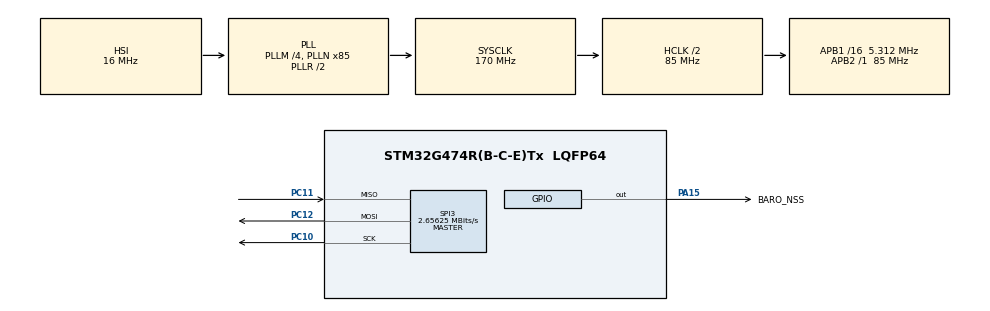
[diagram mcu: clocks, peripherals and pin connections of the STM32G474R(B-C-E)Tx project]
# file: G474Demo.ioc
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Mcu.Family=STM32G4
Mcu.Name=STM32G474R(B-C-E)Tx
Mcu.Package=LQFP64
NUCLEO-G474RE.BUTTON=1
NUCLEO-G474RE.Bsp_Common_DEMO=true
NUCLEO-G474RE.LD2=true
NUCLEO-G474RE.VCP=true
NVIC.EXTI15_10_IRQn=true\:0\:0\:false\:false\:true\:false\:true\:true
NVIC.PriorityGroup=NVIC_PRIORITYGROUP_4
PA13.GPIO_Label=T_SWDIO
PA13.Signal=SYS_JTMS-SWDIO
PA14.GPIO_Label=T_SWCLK
PA14.Signal=SYS_JTCK-SWCLK
PA15.GPIO_Label=BARO_NSS
PA15.Signal=GPIO_Output
PA2.Signal=LPUART1_TX
PA3.Signal=LPUART1_RX
PB3.GPIO_Label=T_SWO
PB3.Signal=SYS_JTDO-SWO
PC10.Mode=Full_Duplex_Master
PC10.Signal=SPI3_SCK
PC11.Mode=Full_Duplex_Master
PC11.Signal=SPI3_MISO
PC12.Mode=Full_Duplex_Master
PC12.Signal=SPI3_MOSI
PC14-OSC32_IN.GPIO_Label=RCC_OSC32_IN
PC14-OSC32_IN.Signal=RCC_OSC32_IN
PC15-OSC32_OUT.GPIO_Label=RCC_OSC32_OUT
PC15-OSC32_OUT.Signal=RCC_OSC32_OUT
PF0-OSC_IN.GPIO_Label=RCC_OSC_IN
PF0-OSC_IN.Signal=RCC_OSC_IN
PF1-OSC_OUT.GPIO_Label=RCC_OSC_OUT
PF1-OSC_OUT.Signal=RCC_OSC_OUT
ProjectManager.HeapSize=0x200
ProjectManager.StackSize=0x400
ProjectManager.TargetToolchain=CMake
RCC.ADC12Freq_Value=170000000
RCC.ADC345Freq_Value=170000000
RCC.AHBCLKDivider=RCC_SYSCLK_DIV2
RCC.AHBFreq_Value=85000000
RCC.APB1CLKDivider=RCC_HCLK_DIV16
RCC.APB1Freq_Value=5312500
RCC.APB1TimFreq_Value=10625000
RCC.APB2Freq_Value=85000000
RCC.APB2TimFreq_Value=85000000
RCC.CortexFreq_Value=85000000
RCC.EXTERNAL_CLOCK_VALUE=12288000
RCC.HCLKFreq_Value=85000000
RCC.HSE_VALUE=24000000
RCC.HSI48_VALUE=48000000
RCC.HSI_VALUE=16000000
RCC.LSE_VALUE=32768
RCC.PLLM=RCC_PLLM_DIV4
RCC.PLLN=85
RCC.RTCClockSelection=RCC_RTCCLKSOURCE_LSE
RCC.SYSCLKFreq_VALUE=170000000
RCC.SYSCLKSource=RCC_SYSCLKSOURCE_PLLCLK
RCC.USBFreq_Value=170000000
RCC.VCOOutputFreq_Value=340000000
SPI3.BaudRatePrescaler=SPI_BAUDRATEPRESCALER_2
SPI3.CalculateBaudRate=2.65625 MBits/s
SPI3.DataSize=SPI_DATASIZE_8BIT
SPI3.Direction=SPI_DIRECTION_2LINES
SPI3.Mode=SPI_MODE_MASTER
SPI3.NSSPMode=SPI_NSS_PULSE_DISABLE
SPI3.VirtualType=VM_MASTER
VP_NUCLEO-G474RE_VS_BSP_COMMON.Mode=COMMON
VP_SYS_VS_DBSignals.Mode=DisableDeadBatterySignals
board=NUCLEO-G474RE

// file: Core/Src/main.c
/* USER CODE BEGIN Header */
/**
  ******************************************************************************
  * @file           : main.c
  * @brief          : Main program body
  ******************************************************************************
  * @attention
  *
  * Copyright (c) 2026 STMicroelectronics.
  * All rights reserved.
  *
  * This software is licensed under terms that can be found in the LICENSE file
  * in the root directory of this software component.
  * If no LICENSE file comes with this software, it is provided AS-IS.
  *
  ******************************************************************************
  */
/* USER CODE END Header */
#include "main.h"

/* USER CODE BEGIN Includes */
#include "BMP581.h"
#include "stm32g4xx_hal.h"
#include "stm32g4xx_hal_def.h"
#include "stm32g4xx_hal_gpio.h"
#include "stm32g4xx_hal_spi.h"
#include <stdint.h>
/* USER CODE END Includes */

COM_InitTypeDef BspCOMInit;
__IO uint32_t BspButtonState = BUTTON_RELEASED;
SPI_HandleTypeDef hspi3;

void SystemClock_Config(void);
static void MX_GPIO_Init(void);
static void MX_SPI3_Init(void);

int main(void)
{

  /* MCU Configuration--------------------------------------------------------*/

  /* Reset of all peripherals, Initializes the Flash interface and the Systick. */
  HAL_Init();

  /* Configure the system clock */
  SystemClock_Config();

  /* Initialize all configured peripherals */
  MX_GPIO_Init();
  MX_SPI3_Init();
  /* USER CODE BEGIN 2 */
  BARO_DATA BMP581 = {&hspi3, GPIOA, BARO_NSS_Pin};
  HAL_StatusTypeDef success = HAL_ERROR;
  success = baro_Init(BMP581);
  success = baro_Temp_Pres_LowRes(BMP581);
  uint8_t data[] = {0x00};
  success = baro_NormalPWR(BMP581, data);
  /* USER CODE END 2 */

  /* Initialize led */
  BSP_LED_Init(LED_GREEN);

  /* Initialize USER push-button, will be used to trigger an interrupt each time it's pressed.*/
  BSP_PB_Init(BUTTON_USER, BUTTON_MODE_EXTI);

  /* Initialize COM1 port (115200, 8 bits (7-bit data + 1 stop bit), no parity */
  BspCOMInit.BaudRate   = 115200;
  BspCOMInit.WordLength = COM_WORDLENGTH_8B;
  BspCOMInit.StopBits   = COM_STOPBITS_1;
  BspCOMInit.Parity     = COM_PARITY_NONE;
  BspCOMInit.HwFlowCtl  = COM_HWCONTROL_NONE;
  if (BSP_COM_Init(COM1, &BspCOMInit) != BSP_ERROR_NONE)
  {
    Error_Handler();
  }

  /* USER CODE BEGIN BSP */

  /* -- Sample board code to send message over COM1 port ---- */
  printf("Welcome to STM32 world !\n\r");

  /* -- Sample board code to switch on led ---- */
  BSP_LED_On(LED_GREEN);

  /* USER CODE END BSP */

  /* Infinite loop */
  /* USER CODE BEGIN WHILE */
  while (1)
  {

    /* -- Sample board code for User push-button in interrupt mode ---- */
    if (BspButtonState == BUTTON_PRESSED)
    {
      /* Update button state */
      BspButtonState = BUTTON_RELEASED;
      /* -- Sample board code to toggle led ---- */
      BSP_LED_Toggle(LED_GREEN);

      /* ..... Perform your action ..... */
    }
    float temp;
    float pres;
    baro_ReadData(BMP581, &temp, &pres);
    float alt = baro_PresToAlt(pres, 0);
    printf("Altitude: %.2f\r\n", alt);
    HAL_Delay(1000);

    /* USER CODE END WHILE */

  }
}

void SystemClock_Config(void)
{
  RCC_OscInitTypeDef RCC_OscInitStruct = {0};
  RCC_ClkInitTypeDef RCC_ClkInitStruct = {0};

  /** Configure the main internal regulator output voltage
  */
  HAL_PWREx_ControlVoltageScaling(PWR_REGULATOR_VOLTAGE_SCALE1);

  /** Initializes the RCC Oscillators according to the specified parameters
  * in the RCC_OscInitTypeDef structure.
  */
  RCC_OscInitStruct.OscillatorType = RCC_OSCILLATORTYPE_HSI;
  RCC_OscInitStruct.HSIState = RCC_HSI_ON;
  RCC_OscInitStruct.HSICalibrationValue = RCC_HSICALIBRATION_DEFAULT;
  RCC_OscInitStruct.PLL.PLLState = RCC_PLL_ON;
  RCC_OscInitStruct.PLL.PLLSource = RCC_PLLSOURCE_HSI;
  RCC_OscInitStruct.PLL.PLLM = RCC_PLLM_DIV4;
  RCC_OscInitStruct.PLL.PLLN = 85;
  RCC_OscInitStruct.PLL.PLLP = RCC_PLLP_DIV2;
  RCC_OscInitStruct.PLL.PLLQ = RCC_PLLQ_DIV2;
  RCC_OscInitStruct.PLL.PLLR = RCC_PLLR_DIV2;
  if (HAL_RCC_OscConfig(&RCC_OscInitStruct) != HAL_OK)
  {
    Error_Handler();
  }

  /** Initializes the CPU, AHB and APB buses clocks
  */
  RCC_ClkInitStruct.ClockType = RCC_CLOCKTYPE_HCLK|RCC_CLOCKTYPE_SYSCLK
                              |RCC_CLOCKTYPE_PCLK1|RCC_CLOCKTYPE_PCLK2;
  RCC_ClkInitStruct.SYSCLKSource = RCC_SYSCLKSOURCE_PLLCLK;
  RCC_ClkInitStruct.AHBCLKDivider = RCC_SYSCLK_DIV2;
  RCC_ClkInitStruct.APB1CLKDivider = RCC_HCLK_DIV16;
  RCC_ClkInitStruct.APB2CLKDivider = RCC_HCLK_DIV1;

  if (HAL_RCC_ClockConfig(&RCC_ClkInitStruct, FLASH_LATENCY_2) != HAL_OK)
  {
    Error_Handler();
  }
}

static void MX_SPI3_Init(void)
{

  /* SPI3 parameter configuration*/
  hspi3.Instance = SPI3;
  hspi3.Init.Mode = SPI_MODE_MASTER;
  hspi3.Init.Direction = SPI_DIRECTION_2LINES;
  hspi3.Init.DataSize = SPI_DATASIZE_8BIT;
  hspi3.Init.CLKPolarity = SPI_POLARITY_LOW;
  hspi3.Init.CLKPhase = SPI_PHASE_1EDGE;
  hspi3.Init.NSS = SPI_NSS_SOFT;
  hspi3.Init.BaudRatePrescaler = SPI_BAUDRATEPRESCALER_2;
  hspi3.Init.FirstBit = SPI_FIRSTBIT_MSB;
  hspi3.Init.TIMode = SPI_TIMODE_DISABLE;
  hspi3.Init.CRCCalculation = SPI_CRCCALCULATION_DISABLE;
  hspi3.Init.CRCPolynomial = 7;
  hspi3.Init.CRCLength = SPI_CRC_LENGTH_DATASIZE;
  hspi3.Init.NSSPMode = SPI_NSS_PULSE_DISABLE;
  if (HAL_SPI_Init(&hspi3) != HAL_OK)
  {
    Error_Handler();
  }

}

static void MX_GPIO_Init(void)
{
  GPIO_InitTypeDef GPIO_InitStruct = {0};

  /* GPIO Ports Clock Enable */
  __HAL_RCC_GPIOC_CLK_ENABLE();
  __HAL_RCC_GPIOF_CLK_ENABLE();
  __HAL_RCC_GPIOA_CLK_ENABLE();
  __HAL_RCC_GPIOB_CLK_ENABLE();

  /*Configure GPIO pin Output Level */
  HAL_GPIO_WritePin(BARO_NSS_GPIO_Port, BARO_NSS_Pin, GPIO_PIN_RESET);

  /*Configure GPIO pin : BARO_NSS_Pin */
  GPIO_InitStruct.Pin = BARO_NSS_Pin;
  GPIO_InitStruct.Mode = GPIO_MODE_OUTPUT_PP;
  GPIO_InitStruct.Pull = GPIO_NOPULL;
  GPIO_InitStruct.Speed = GPIO_SPEED_FREQ_LOW;
  HAL_GPIO_Init(BARO_NSS_GPIO_Port, &GPIO_InitStruct);

}

/**
  * @brief BSP Push Button callback
  * @param Button Specifies the pressed button
  * @retval None
  */
void BSP_PB_Callback(Button_TypeDef Button)
{
  if (Button == BUTTON_USER)
  {
    BspButtonState = BUTTON_PRESSED;
  }
}

void Error_Handler(void)
{
  __disable_irq();
  while (1)
  {
  }
}
